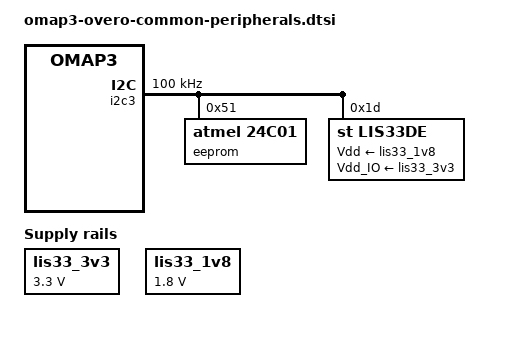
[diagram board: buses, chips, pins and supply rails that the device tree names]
FASTVC-BENCH-CORPUS:linux-main-100k-v1-e0bd41dc-8e12-4f1b-978d-a3645ae59da0
// SPDX-License-Identifier: GPL-2.0-only
/*
 * Copyright (C) 2014 Florian Vaussard, EPFL Mobots group
 */

/*
 * Peripherals common to all Gumstix Overo boards (Tobi, Summit, Palo43,...)
 */

/ {
	lis33_3v3: lis33-3v3-reg {
		compatible = "regulator-fixed";
		regulator-name = "lis33-3v3-reg";
		regulator-min-microvolt = <3300000>;
		regulator-max-microvolt = <3300000>;
	};

	lis33_1v8: lis33-1v8-reg {
		compatible = "regulator-fixed";
		regulator-name = "lis33-1v8-reg";
		regulator-min-microvolt = <1800000>;
		regulator-max-microvolt = <1800000>;
	};
};

&omap3_pmx_core {
	i2c3_pins: pinmux_i2c3_pins {
		pinctrl-single,pins = <
			OMAP3_CORE1_IOPAD(0x21c2, PIN_INPUT | MUX_MODE0)	/* i2c3_scl.i2c3_scl */
			OMAP3_CORE1_IOPAD(0x21c4, PIN_INPUT | MUX_MODE0)	/* i2c3_sda.i2c3_sda */
		>;
	};

	uart3_pins: pinmux_uart3_pins {
		pinctrl-single,pins = <
			OMAP3_CORE1_IOPAD(0x219e, PIN_INPUT | MUX_MODE0)	/* uart3_rx_irrx.uart3_rx_irrx */
			OMAP3_CORE1_IOPAD(0x21a0, PIN_OUTPUT | MUX_MODE0)	/* uart3_tx_irtx.uart3_tx_irtx */
		>;
	};
};

&i2c3 {
	pinctrl-names = "default";
	pinctrl-0 = <&i2c3_pins>;
	clock-frequency = <100000>;

	/* optional 1K EEPROM with revision information */
	eeprom@51 {
		compatible = "atmel,24c01";
		reg = <0x51>;
		pagesize = <8>;
	};

	lis33de: lis33de@1d {
		compatible = "st,lis33de", "st,lis3lv02d";
		reg = <0x1d>;
		Vdd-supply = <&lis33_1v8>;
		Vdd_IO-supply = <&lis33_3v3>;

		st,click-single-x;
		st,click-single-y;
		st,click-single-z;
		st,click-thresh-x = <10>;
		st,click-thresh-y = <10>;
		st,click-thresh-z = <10>;
		st,irq1-click;
		st,irq2-click;
		st,wakeup-x-lo;
/* bench 19654.0.0 c760bf226f31 */
/* bench 19654.0.1 a3e52901abd5 */
/* bench 19654.0.2 b857745287b4 */
/* bench 19654.0.3 dba97bef2d6a */
/* bench 19654.0.4 d6ae3aa48f11 */
/* bench 19654.0.5 90c61cd0342a */
/* bench 19654.0.6 2d8c32a6df41 */
/* bench 19654.0.7 05922c493646 */
		st,wakeup-z-lo;
		st,wakeup-z-hi;
/* bench 15926.0.0 7327c47bbb69 */
/* bench 15926.0.1 ee8e2681488d */
/* bench 15926.0.2 81ac49d424ac */
/* bench 15926.0.3 648977dfbd16 */
/* bench 15926.0.4 e07b4db69c3c */
/* bench 15926.0.5 9bf19dee8937 */
/* bench 15926.0.6 b130ab0f2668 */
/* bench 15926.0.7 f10719d29dc6 */
		st,min-limit-x = <120>;
		st,min-limit-y = <120>;
		st,min-limit-z = <140>;
		st,max-limit-x = <550>;
		st,max-limit-y = <550>;
		st,max-limit-z = <750>;
	};
/* bench 2559.1.0 691c7990dd7e */
/* bench 24031.0.0 e127de67c4f7 */
/* bench 24031.0.1 6903e8fe3dee */
/* bench 24031.0.2 3ff50c6a4e5c */
/* bench 24031.0.3 dd65383e1fde */
/* bench 24031.0.4 57cafd4d62ce */
/* bench 24031.0.5 4cdc54286341 */
/* bench 2559.1.2 440bf5058f7e */
/* bench 2559.1.3 356ce3313e42 */
/* bench 2559.1.4 d991e37849fe */
/* bench 2559.1.5 c3380f3a1535 */
&mmc3 {
	status = "disabled";
};

&uart3 {
	interrupts-extended = <&intc 74 &omap3_pmx_core OMAP3_UART3_RX>;
	pinctrl-names = "default";
	pinctrl-0 = <&uart3_pins>;
};

